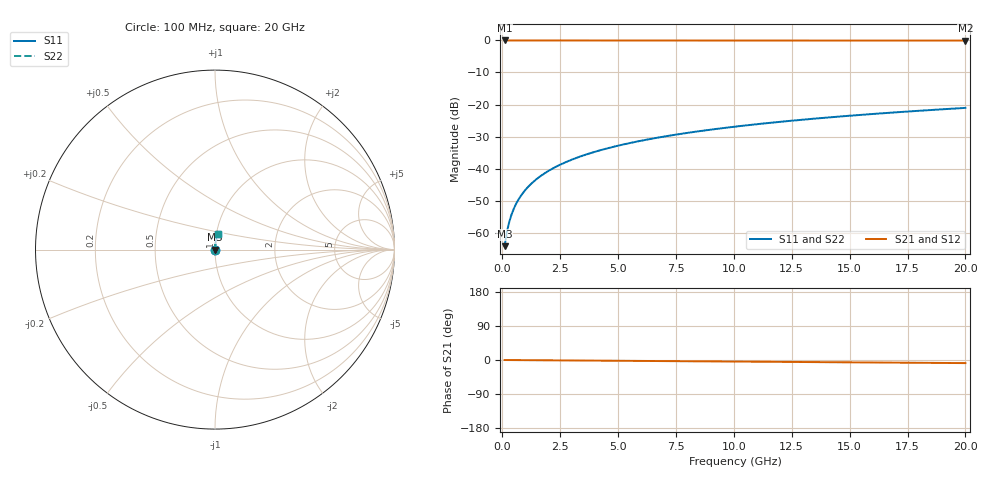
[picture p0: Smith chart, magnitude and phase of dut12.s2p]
! Touchstone file exported from HFSS 2026.1.0
!  File:  C:/ffzhzh/LocalFiles/Ansys_Project_Files/temp_val_TSV_12_1782974946_45748.aedt
!  Generated:  02:50:59 PM Jul  2, 2026
!  Design:  TSV
!  Project:  temp_val_TSV_12_1782974946_45748
! Variables:
!  h_bsmrdl = 2um
!  h_ox = 20um
!  h_rdl = 5um
!  h_sub = 56.25um
!  h_tmrdl = 5um
!  h_tsv = 56.25um
!  h_via = 3um
!  l_bsmrdl = 300um
!  l_sub = 408.5um
!  l_tmrdl = 200um
!  m_sub = 200um
!  pitch = 52.13um
!  r_tsv = 4.25um
!  s_tmrdl = 10um
!  w_bsmrdl = 18um
!  w_sub = 500um
!  w_tmrdl = 12um
!  x_tsv_center1 = 206um
!  x_tsv_center2 = 524um
!  x_tsv_center3 = 736um
!  x_tsv_center4 = 1054um
!  x_tsv_center5 = 1266um
!  x_tsv_center6 = 1584um
# GHz S MA R 50.000000
! Terminal data exported
! Port[1] = TSV1_1_T1
! Port[2] = TSV1_1_T2
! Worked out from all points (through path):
!   200 points, 100 MHz to 20 GHz, reference 50 ohm
!   highest |S21| = 0.00 dB at 100 MHz (marker M1); lowest = 0.0 dB at 20 GHz (marker M2)
!   group delay of S21, straight-line fit = 1.14 ps
!   lowest |S11| = -64.2 dB at 100 MHz (marker M3), VSWR 1.00, Z = 50 + j0.0476 ohm
!   |S11| at or under -10 dB: start of sweep to end of sweep
!   |S22| runs from -64.2 to -21.1 dB; largest |S21 - S12| = 4.4e-15
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0.1  0.0006151 50.6  0.9996 -0.0  0.9996 -0.0  0.0006151 50.6
! Gamma 0 0 0 0
! Port Impedance 50 0 50 0
0.2  0.001028 67.1  0.9996 -0.1  0.9996 -0.1  0.001028 67.1
0.3  0.001472 73.7  0.9996 -0.1  0.9996 -0.1  0.001472 73.7
0.4  0.001923 77.2  0.9996 -0.2  0.9996 -0.2  0.001923 77.2
0.5  0.002377 79.4  0.9996 -0.2  0.9996 -0.2  0.002377 79.4
0.7  0.003287 81.9  0.9995 -0.3  0.9995 -0.3  0.003287 81.9
0.8  0.003743 82.7  0.9995 -0.3  0.9995 -0.3  0.003743 82.7
1  0.004656 83.9  0.9995 -0.4  0.9995 -0.4  0.004656 83.9
1.2  0.005571 84.6  0.9995 -0.5  0.9995 -0.5  0.005571 84.6
1.4  0.006486 85.1  0.9995 -0.6  0.9995 -0.6  0.006486 85.1
1.7  0.007858 85.5  0.9994 -0.7  0.9994 -0.7  0.007858 85.5
2  0.009228 85.8  0.9994 -0.8  0.9994 -0.8  0.009228 85.8
2.7  0.01242 86.1  0.9993 -1.1  0.9993 -1.1  0.01242 86.1
3.5  0.01604 86.1  0.9992 -1.5  0.9992 -1.5  0.01604 86.1
4.2  0.01919 86.0  0.999 -1.8  0.999 -1.8  0.01919 86.0
5  0.02278 85.8  0.9989 -2.1  0.9989 -2.1  0.02278 85.8
6.8  0.03079 85.3  0.9985 -2.8  0.9985 -2.8  0.03079 85.3
8.3  0.03742 84.8  0.9981 -3.4  0.9981 -3.4  0.03742 84.8
10.1  0.04536 84.2  0.9977 -4.2  0.9977 -4.2  0.04536 84.2
13.4  0.05984 83.1  0.9967 -5.5  0.9967 -5.5  0.05984 83.1
16.7  0.07424 81.9  0.9956 -6.9  0.9956 -6.9  0.07424 81.9
20  0.08854 80.6  0.9943 -8.2  0.9943 -8.2  0.08854 80.6
